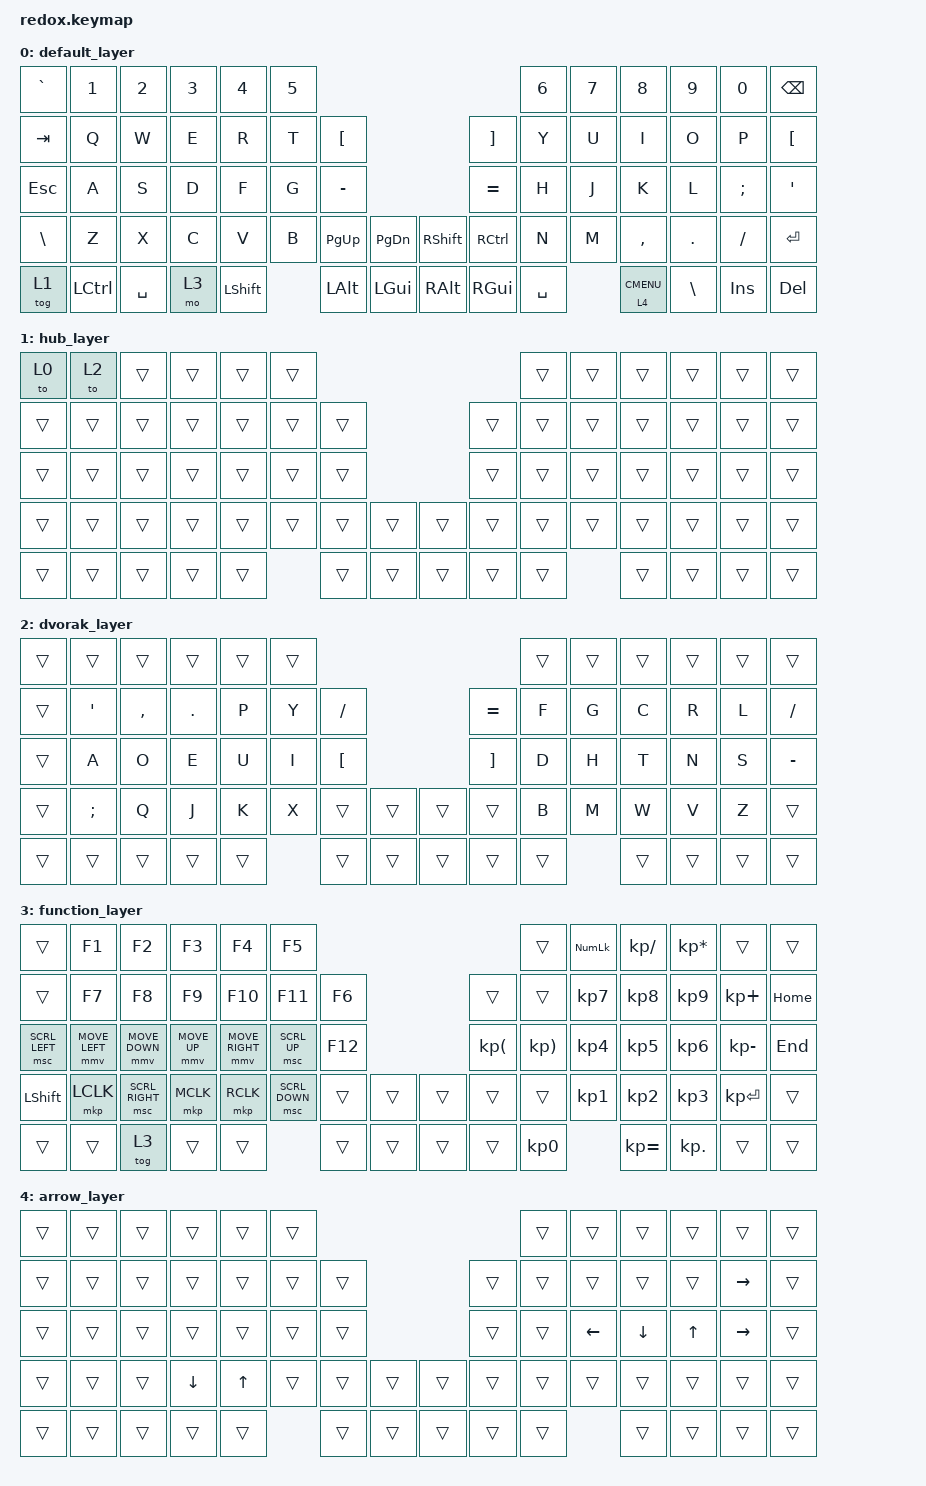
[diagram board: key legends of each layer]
/*
 * Copyright (c) 2021 The ZMK Contributors
 *
 * SPDX-License-Identifier: MIT
 */

#include <behaviors.dtsi>
#include <dt-bindings/zmk/keys.h>
#include <dt-bindings/zmk/bt.h>
#include <dt-bindings/zmk/ext_power.h>
#include <dt-bindings/zmk/outputs.h>
// #define ZMK_POINTING_DEFAULT_MOVE_VAL 1500  // default: 600
// #define ZMK_POINTING_DEFAULT_SCRL_VAL 20    // default: 10
#include <dt-bindings/zmk/pointing.h>

/ {
    keymap {
        compatible =  "zmk,keymap" ;

        default_layer { // layer 0
// --------------------------------------------------------------------------------------------------------------------------------
// | `     |  1  |  2  |   3   |  4  |  5  |                   ---                |  6    |  7    |  8    |  9   | 0  |    BSPC   |
// | TAB   |  Q  |  W  |   E   |  R  |  T  |   [   |           ---        |  ]    |  Y    |  U    |  I    |  O   | P  |     [     |
// | ESC   |  A  |  S  |   D   |  F  |  G  |   -   |           ---        |  =    |  H    |  J    |  K    |  L   | ;  |     '     |
// | \     |  Z  |  X  |   C   |  V  |  B  | PG_UP | PG_DOWN | --- | RSHT | RCTL  |  N    |  M    |  ,    |  .   | /  |    RET    |
// | LY 1  | LCT | SPC | LY 3  |    SHFT   | LALT  | LMETA   | --- | RALT | RMETA |     SPACE     | MENU  | BSLH | IN |    DEL    |
            bindings = <
   &kp GRAVE &kp N1    &kp N2    &kp N3 &kp N4      &kp N5                                           &kp N6    &kp N7    &kp N8        &kp N9   &kp N0   &kp BSPC
   &kp TAB   &kp Q     &kp W     &kp E  &kp R       &kp T    &kp LBKT                      &kp RBKT  &kp Y     &kp U     &kp I         &kp O    &kp P    &kp LBKT
   &kp ESC   &kp A     &kp S     &kp D  &kp F       &kp G    &kp MINUS                     &kp EQUAL &kp H     &kp J     &kp K         &kp L    &kp SEMI &kp SQT
   &kp BSLH  &kp Z     &kp X     &kp C  &kp V       &kp B    &kp PG_UP &kp PG_DN &kp RSHFT &kp RCTL  &kp N     &kp M     &kp COMMA     &kp DOT  &kp FSLH &kp RET
   &tog 1    &kp LCTRL &kp SPACE &mo 3  &kp LSHFT            &kp LALT  &kp LGUI  &kp RALT  &kp RGUI  &kp SPACE           &lt 4 K_CMENU &kp BSLH &kp INS  &kp DEL
            >;

        };

        hub_layer {// layer 1
// -------------------------------------------------------------------------------------------------------
// | LY0 | LY2 | ... | ... | ... | ... |             ---             | ... | ... | ... | ... | ... | ... |
// | ... | ... | ... | ... | ... | ... | ... |       ---       | ... | ... | ... | ... | ... | ... | ... |
// | ... | ... | ... | ... | ... | ... | ... |       ---       | ... | ... | ... | ... | ... | ... | ... |
// | ... | ... | ... | ... | ... | ... | ... | ... | --- | ... | ... | ... | ... | ... | ... | ... | ... |
// | ... | ... | ... | ... | ...   ... | ... | ... | --- | ... | ... | ...   ... | ... | ... | ... | ... |
            bindings = <
   &to 0  &to 2  &trans &trans &trans &trans                             &trans &trans &trans &trans &trans &trans
   &trans &trans &trans &trans &trans &trans &trans               &trans &trans &trans &trans &trans &trans &trans
   &trans &trans &trans &trans &trans &trans &trans               &trans &trans &trans &trans &trans &trans &trans
   &trans &trans &trans &trans &trans &trans &trans &trans &trans &trans &trans &trans &trans &trans &trans &trans
   &trans &trans &trans &trans    &trans     &trans &trans &trans &trans    &trans     &trans &trans &trans &trans
            >;
        };

        dvorak_layer {// layer 2
// -------------------------------------------------------------------------------------------------------
// | ... | ... | ... | ... | ... | ... |             ---             | ... | ... | ... | ... | ... | ... |
// | ... |  '  |  ,  |  .  |  P  |  Y  |  /  |       ---       |  =  |  F  |  G  |  C  |  R  |  L  |  /  |
// | ... |  A  |  O  |  E  |  U  |  I  |  [  |       ---       |  ]  |  D  |  H  |  T  |  N  |  S  |  -  |
// | ... |  ;  |  Q  |  J  |  K  |  X  | ... | ... | --- | ... | ... |  B  |  M  |  W  |  V  |  Z  | ... |
// | ... | ... | ... | ... | ...   ... | ... | ... | --- | ... | ... | ...   ... | ... | ... | ... | ... |
            bindings = <
   &trans &trans   &trans    &trans  &trans &trans                                &trans &trans &trans &trans &trans &trans
   &trans &kp SQT  &kp COMMA &kp DOT &kp P  &kp Y  &kp FSLH             &kp EQUAL &kp F  &kp G  &kp C  &kp R  &kp L  &kp FSLH
   &trans &kp A    &kp O     &kp E   &kp U  &kp I  &kp LBKT             &kp RBKT  &kp D  &kp H  &kp T  &kp N  &kp S  &kp MINUS
   &trans &kp SEMI &kp Q     &kp J   &kp K  &kp X  &trans &trans &trans &trans    &kp B  &kp M  &kp W  &kp V  &kp Z  &trans
   &trans &trans   &trans    &trans     &trans     &trans &trans &trans &trans       &trans     &trans &trans &trans &trans
            >;
        };

        function_layer {// layer 3
// -------------------------------------------------------------------------------------------------------
// | ... | F1  | F2  | F3  | F4  | F5  |             ---             | ... | NUM | KP/ | KP* | ... | ... |
// | ... | F7  | F8  | F9  | F10 | F11 | F6  |       ---       | ... | ... | KP7 | KP8 | KP9 | KP+ | HOM |
// | <MW | <M  | DMv | UM^ |  M> | MW^ | F12 |       ---       |  (  |  )  | KP4 | KP5 | KP6 | KP- | END |
// | LSH | LCL | MW> | MCL | RCL | MWv | ... | ... | --- | ... | ... | TAB | KP1 | KP2 | KP3 | KPe | ... |
// | ... | ... | ... | ... |  TOG LY3  | ... | ... | --- | ... | ... |    KP0    | KP= | KP. | ... | ... |
            bindings = <
   &trans         &kp F1         &kp F2          &kp F3       &kp F4          &kp F5                                          &trans      &kp KP_NUM &kp KP_SLASH &kp KP_ASTERISK &trans       &trans
   &trans         &kp F7         &kp F8          &kp F9       &kp F10         &kp F11        &kp F6               &trans      &trans      &kp KP_N7  &kp KP_N8    &kp KP_N9       &kp KP_PLUS  &kp HOME
   &msc SCRL_LEFT &mmv MOVE_LEFT &mmv MOVE_DOWN  &mmv MOVE_UP &mmv MOVE_RIGHT &msc SCRL_UP   &kp F12              &kp KP_LPAR &kp KP_RPAR &kp KP_N4  &kp KP_N5    &kp KP_N6       &kp KP_MINUS &kp END
   &kp LSHFT      &mkp LCLK      &msc SCRL_RIGHT &mkp MCLK    &mkp RCLK       &msc SCRL_DOWN &trans &trans &trans &trans      &trans      &kp KP_N1  &kp KP_N2    &kp KP_N3       &kp KP_ENTER &trans
   &trans         &trans         &tog 3          &trans                  &trans              &trans &trans &trans &trans           &kp KP_N0         &kp KP_EQUAL &kp KP_DOT      &trans      &trans
            >;
        };

        arrow_layer {// layer 4
// -------------------------------------------------------------------------------------------------------
// | ... | ... | ... | ... | ... | ... |             ---             | ... | ... | ... | ... | ... | ... |
// | ... | ... | ... | ... | ... | ... | ... |       ---       | ... | ... | ... | ... | ... |  >  | ... |
// | ... | ... | ... | ... | ... | ... | ... |       ---       | ... | ... |  <  |  V  |  ^  |  >  | ... |
// | ... | ... | ... |  V  |  ^  | ... | ... | ... | --- | ... | ... | ... | ... | ... | ... | ... | ... |
// | ... | ... | ... | ... | ...   ... | ... | ... | --- | ... | ... | ...   ... | ... | ... | ... | ... |
            bindings = <
   &trans &trans &trans &trans   &trans &trans                             &trans &trans   &trans   &trans &trans    &trans
   &trans &trans &trans &trans   &trans &trans &trans               &trans &trans &trans   &trans   &trans &kp RIGHT &trans
   &trans &trans &trans &trans   &trans &trans &trans               &trans &trans &kp LEFT &kp DOWN &kp UP &kp RIGHT &trans
   &trans &trans &trans &kp DOWN &kp UP &trans &trans &trans &trans &trans &trans &trans   &trans   &trans &trans    &trans
   &trans &trans &trans &trans      &trans     &trans &trans &trans &trans    &trans       &trans   &trans &trans    &trans
            >;
        };
    };
};
